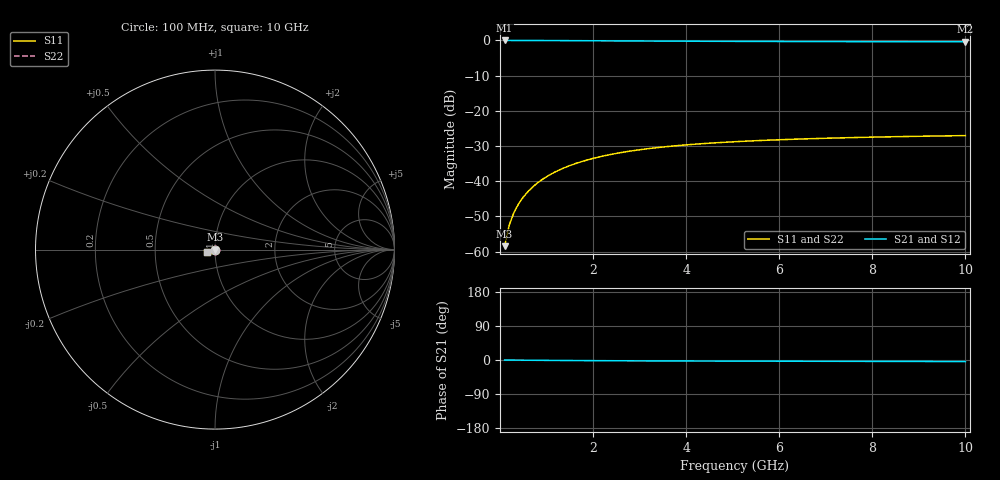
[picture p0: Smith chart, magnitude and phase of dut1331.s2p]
! Touchstone file exported from HFSS 2024.1.0
!  File:  C:/UserFiles/LocalFiles/RDL_TSV_Batchsim/temp_TSV1_1331_1780375385.aedt
!  Generated:  12:50:16 PM Jun  2, 2026
!  Design:  TSV1
!  Project:  temp_TSV1_1331_1780375385
!  Setup:  Setup1
!  Solution:  Sweep
! Variables:
!  dtsv = 12.39um
!  hbump = 3um
!  htsv = 61.48um
!  lrdl = 252.1521522um
!  p = 40
!  p1 = 44.85um
!  t = 500um
!  trdl = 3um
!  wrdl = 24.89489489um
# GHz S MA R 50.000000
! Terminal data exported
! Port[1] = TSV22_T1
! Port[2] = TSV22_T2
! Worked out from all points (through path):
!   100 points, 100 MHz to 10 GHz, reference 50 ohm
!   highest |S21| = 0.00 dB at 100 MHz (marker M1); lowest = -0.4 dB at 10 GHz (marker M2)
!   lowest |S11| = -58.5 dB at 100 MHz (marker M3), VSWR 1.00, Z = 50 - j0.119 ohm
!   |S11| at or under -10 dB: start of sweep to end of sweep
!   |S22| runs from -58.5 to -27.1 dB; largest |S21 - S12| = 4.3e-15
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0.1  0.001191 -87.6  0.9999 -0.1  0.9999 -0.1  0.001191 -87.6
! Gamma 0 0 0 0
! Port Impedance 50 0 50 0
0.2  0.00238 -91.3  0.9998 -0.2  0.9998 -0.2  0.00238 -91.3
0.3  0.00357 -93.6  0.9996 -0.3  0.9996 -0.3  0.00357 -93.6
0.4  0.004753 -95.5  0.9994 -0.4  0.9994 -0.4  0.004753 -95.5
0.5  0.005926 -97.2  0.9991 -0.5  0.9991 -0.5  0.005926 -97.2
0.6  0.007087 -98.8  0.9987 -0.6  0.9987 -0.6  0.007087 -98.8
0.7  0.008232 -100.4  0.9983 -0.7  0.9983 -0.7  0.008232 -100.4
0.8  0.009359 -102.0  0.9978 -0.8  0.9978 -0.8  0.009359 -102.0
0.9  0.01047 -103.5  0.9973 -0.9  0.9973 -0.9  0.01047 -103.5
1.1  0.01262 -106.4  0.9961 -1.1  0.9961 -1.1  0.01262 -106.4
1.4  0.01567 -110.6  0.9942 -1.3  0.9942 -1.3  0.01567 -110.6
1.6  0.01757 -113.3  0.9927 -1.5  0.9927 -1.5  0.01757 -113.3
1.8  0.01936 -115.9  0.9913 -1.6  0.9913 -1.6  0.01936 -115.9
2.1  0.02185 -119.5  0.989 -1.8  0.989 -1.8  0.02185 -119.5
2.5  0.02479 -123.9  0.986 -2.0  0.986 -2.0  0.02479 -123.9
2.9  0.02735 -127.8  0.9831 -2.2  0.9831 -2.2  0.02735 -127.8
3.4  0.03008 -132.3  0.9797 -2.4  0.9797 -2.4  0.03008 -132.3
4.2  0.03356 -138.2  0.9749 -2.7  0.9749 -2.7  0.03356 -138.2
5.1  0.03651 -143.6  0.9705 -2.9  0.9705 -2.9  0.03651 -143.6
6.7  0.04018 -151.1  0.9646 -3.3  0.9646 -3.3  0.04018 -151.1
8.4  0.04274 -157.0  0.9603 -3.7  0.9603 -3.7  0.04274 -157.0
10  0.04441 -161.5  0.9574 -4.1  0.9574 -4.1  0.04441 -161.5
